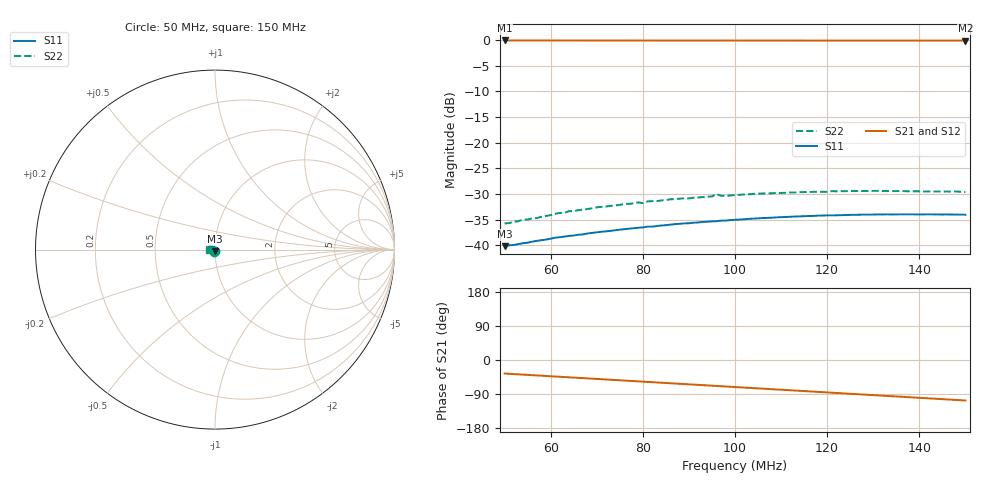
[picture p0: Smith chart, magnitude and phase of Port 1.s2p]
! RsaToolbox (C) 2014 Rohde & Schwarz America
! Number of points: 101
! Number of ports: 2
! Balanced ports?: No
# Hz S RI R 50
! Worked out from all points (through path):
!   101 points, 50 MHz to 150 MHz, reference 50 ohm
!   highest |S21| = -0.06 dB at 50 MHz (marker M1); lowest = -0.1 dB at 150 MHz (marker M2)
!   group delay of S21, straight-line fit = 1.98 ns
!   lowest |S11| = -40.1 dB at 50 MHz (marker M3), VSWR 1.02, Z = 50 - j0.983 ohm
!   |S11| at or under -10 dB: start of sweep to end of sweep
!   |S22| runs from -35.7 to -29.4 dB; largest |S21 - S12| = 0
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5e7  5.99e-05 -0.00983  0.8068 -0.5799  0.8068 -0.5799  -0.00589 -0.0153
5.1e7  -0.000171 -0.01  0.7995 -0.5899  0.7995 -0.5899  -0.00621 -0.0153
5.4e7  -0.000904 -0.0105  0.7768 -0.6193  0.7768 -0.6193  -0.00744 -0.0162
5.7e7  -0.00161 -0.011  0.753 -0.6478  0.753 -0.6478  -0.00812 -0.0166
6.1e7  -0.00265 -0.0116  0.7196 -0.6844  0.7196 -0.6844  -0.00987 -0.0178
6.3e7  -0.00321 -0.0118  0.7023 -0.702  0.7023 -0.702  -0.0104 -0.018
6.4e7  -0.00352 -0.0119  0.6934 -0.7107  0.6934 -0.7107  -0.0112 -0.0185
6.7e7  -0.00431 -0.0121  0.6664 -0.7359  0.6664 -0.7359  -0.0122 -0.0188
7.6e7  -0.00691 -0.0126  0.5798 -0.8054  0.5798 -0.8054  -0.0161 -0.0196
7.9e7  -0.00782 -0.0126  0.5493 -0.8263  0.5493 -0.8263  -0.0174 -0.0196
8e7  -0.008 -0.0127  0.539 -0.8331  0.539 -0.8331  -0.0173 -0.0191
8.1e7  -0.00845 -0.0127  0.5286 -0.8397  0.5286 -0.8397  -0.0182 -0.0197
8.4e7  -0.00932 -0.0126  0.4969 -0.8587  0.4969 -0.8587  -0.0194 -0.0194
9.5e7  -0.0124 -0.0118  0.3752 -0.9179  0.3752 -0.9179  -0.0237 -0.0184
9.6e7  -0.0127 -0.0117  0.3638 -0.9226  0.3638 -0.9226  -0.0254 -0.0189
9.7e7  -0.013 -0.0116  0.3523 -0.9269  0.3523 -0.9269  -0.0243 -0.0183
1e8  -0.0138 -0.0112  0.3175 -0.9394  0.3175 -0.9394  -0.0255 -0.0175
1.06e8  -0.0153 -0.0104  0.2466 -0.9602  0.2466 -0.9602  -0.0276 -0.0164
1.17e8  -0.0176 -0.00819  0.1136 -0.9846  0.1136 -0.9846  -0.0306 -0.013
1.25e8  -0.0188 -0.00632  0.0152 -0.9909  0.0152 -0.9909  -0.0323 -0.0102
1.34e8  -0.0196 -0.00385  -0.0953 -0.9862  -0.0953 -0.9862  -0.0332 -0.0068
1.5e8  -0.0199 0.000753  -0.2874 -0.9476  -0.2874 -0.9476  -0.0331 -0.000445
